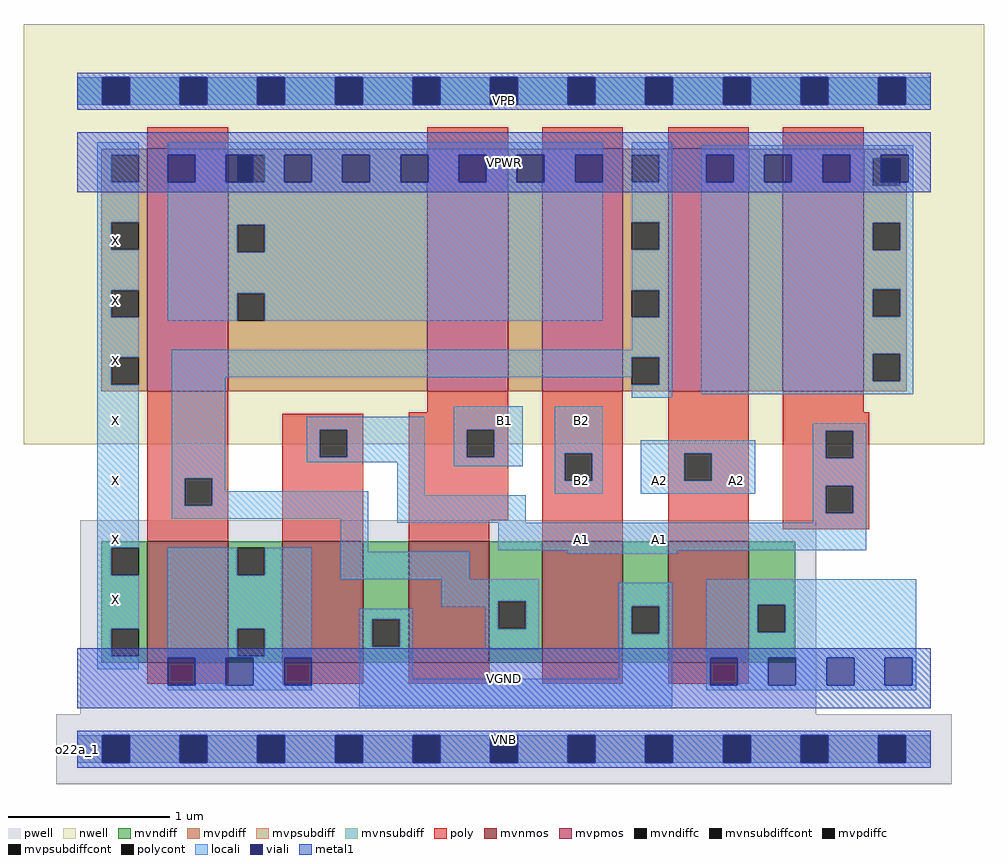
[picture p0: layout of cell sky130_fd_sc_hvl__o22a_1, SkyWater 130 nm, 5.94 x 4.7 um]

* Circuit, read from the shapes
.subckt sky130_fd_sc_hvl__o22a_1 A1 A2 B1 B2 VGND VNB VPB VPWR X
XM1 VGND n1 X VNB sky130_fd_pr__nfet_g5v0d10v5 w=0.75 l=0.5
XM2 n2 A1 VGND VNB sky130_fd_pr__nfet_g5v0d10v5 w=0.75 l=0.5
XM3 n1 B1 n2 VNB sky130_fd_pr__nfet_g5v0d10v5 w=0.75 l=0.5
XM4 n2 B2 n1 VNB sky130_fd_pr__nfet_g5v0d10v5 w=0.75 l=0.5
XM5 VGND A2 n2 VNB sky130_fd_pr__nfet_g5v0d10v5 w=0.75 l=0.5
XM6 VPWR n1 X VPB sky130_fd_pr__pfet_g5v0d10v5 w=1.5 l=0.5
XM7 n3 B1 VPWR VPB sky130_fd_pr__pfet_g5v0d10v5 w=1.5 l=0.5
XM8 n1 B2 n3 VPB sky130_fd_pr__pfet_g5v0d10v5 w=1.5 l=0.5
XM9 n4 A2 n1 VPB sky130_fd_pr__pfet_g5v0d10v5 w=1.5 l=0.5
XM10 VPWR A1 n4 VPB sky130_fd_pr__pfet_g5v0d10v5 w=1.5 l=0.5
.ends

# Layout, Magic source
magic
tech sky130A
magscale 1 2
<< nwell >>
rect -66 377 1122 897
<< pwell >>
rect 4 43 914 283
rect -26 -43 1082 43
<< mvnmos >>
rect 87 107 187 257
rect 254 107 354 257
rect 410 107 510 257
rect 575 107 675 257
rect 731 107 831 257
<< mvpmos >>
rect 87 443 187 743
rect 433 443 533 743
rect 575 443 675 743
rect 731 443 831 743
rect 873 443 973 743
<< mvndiff >>
rect 30 249 87 257
rect 30 215 42 249
rect 76 215 87 249
rect 30 149 87 215
rect 30 115 42 149
rect 76 115 87 149
rect 30 107 87 115
rect 187 249 254 257
rect 187 215 198 249
rect 232 215 254 249
rect 187 149 254 215
rect 187 115 198 149
rect 232 115 254 149
rect 187 107 254 115
rect 354 161 410 257
rect 354 127 365 161
rect 399 127 410 161
rect 354 107 410 127
rect 510 183 575 257
rect 510 149 521 183
rect 555 149 575 183
rect 510 107 575 149
rect 675 177 731 257
rect 675 143 686 177
rect 720 143 731 177
rect 675 107 731 143
rect 831 179 888 257
rect 831 145 842 179
rect 876 145 888 179
rect 831 107 888 145
<< mvpdiff >>
rect 30 735 87 743
rect 30 701 42 735
rect 76 701 87 735
rect 30 652 87 701
rect 30 618 42 652
rect 76 618 87 652
rect 30 568 87 618
rect 30 534 42 568
rect 76 534 87 568
rect 30 485 87 534
rect 30 451 42 485
rect 76 451 87 485
rect 30 443 87 451
rect 187 735 433 743
rect 187 701 198 735
rect 232 701 433 735
rect 187 649 433 701
rect 187 615 198 649
rect 232 615 433 649
rect 187 564 433 615
rect 187 530 198 564
rect 232 530 433 564
rect 187 443 433 530
rect 533 443 575 743
rect 675 735 731 743
rect 675 701 686 735
rect 720 701 731 735
rect 675 652 731 701
rect 675 618 686 652
rect 720 618 731 652
rect 675 568 731 618
rect 675 534 686 568
rect 720 534 731 568
rect 675 485 731 534
rect 675 451 686 485
rect 720 451 731 485
rect 675 443 731 451
rect 831 443 873 743
rect 973 731 1026 743
rect 973 697 984 731
rect 1018 697 1026 731
rect 973 651 1026 697
rect 973 617 984 651
rect 1018 617 1026 651
rect 973 569 1026 617
rect 973 535 984 569
rect 1018 535 1026 569
rect 973 489 1026 535
rect 973 455 984 489
rect 1018 455 1026 489
rect 973 443 1026 455
<< mvndiffc >>
rect 42 215 76 249
rect 42 115 76 149
rect 198 215 232 249
rect 198 115 232 149
rect 365 127 399 161
rect 521 149 555 183
rect 686 143 720 177
rect 842 145 876 179
<< mvpdiffc >>
rect 42 701 76 735
rect 42 618 76 652
rect 42 534 76 568
rect 42 451 76 485
rect 198 701 232 735
rect 198 615 232 649
rect 198 530 232 564
rect 686 701 720 735
rect 686 618 720 652
rect 686 534 720 568
rect 686 451 720 485
rect 984 697 1018 731
rect 984 617 1018 651
rect 984 535 1018 569
rect 984 455 1018 489
<< mvpsubdiff >>
rect 0 -17 31 17
rect 65 -17 127 17
rect 161 -17 223 17
rect 257 -17 319 17
rect 353 -17 415 17
rect 449 -17 511 17
rect 545 -17 607 17
rect 641 -17 703 17
rect 737 -17 799 17
rect 833 -17 895 17
rect 929 -17 991 17
rect 1025 -17 1056 17
<< mvnsubdiff >>
rect 0 797 31 831
rect 65 797 127 831
rect 161 797 223 831
rect 257 797 319 831
rect 353 797 415 831
rect 449 797 511 831
rect 545 797 607 831
rect 641 797 703 831
rect 737 797 799 831
rect 833 797 895 831
rect 929 797 991 831
rect 1025 797 1056 831
<< mvpsubdiffcont >>
rect 31 -17 65 17
rect 127 -17 161 17
rect 223 -17 257 17
rect 319 -17 353 17
rect 415 -17 449 17
rect 511 -17 545 17
rect 607 -17 641 17
rect 703 -17 737 17
rect 799 -17 833 17
rect 895 -17 929 17
rect 991 -17 1025 17
<< mvnsubdiffcont >>
rect 31 797 65 831
rect 127 797 161 831
rect 223 797 257 831
rect 319 797 353 831
rect 415 797 449 831
rect 511 797 545 831
rect 607 797 641 831
rect 703 797 737 831
rect 799 797 833 831
rect 895 797 929 831
rect 991 797 1025 831
<< poly >>
rect 87 743 187 769
rect 433 743 533 769
rect 575 743 675 769
rect 731 743 831 769
rect 873 743 973 769
rect 87 335 187 443
rect 433 417 533 443
rect 87 301 133 335
rect 167 301 187 335
rect 87 257 187 301
rect 254 395 354 415
rect 254 361 300 395
rect 334 361 354 395
rect 254 257 354 361
rect 410 395 533 417
rect 410 361 482 395
rect 516 361 533 395
rect 410 283 533 361
rect 575 366 675 443
rect 575 332 603 366
rect 637 332 675 366
rect 410 257 510 283
rect 575 257 675 332
rect 731 366 831 443
rect 731 332 751 366
rect 785 332 831 366
rect 731 257 831 332
rect 873 417 973 443
rect 873 394 980 417
rect 873 360 926 394
rect 960 360 980 394
rect 873 326 980 360
rect 873 292 926 326
rect 960 292 980 326
rect 873 272 980 292
rect 87 81 187 107
rect 254 81 354 107
rect 410 81 510 107
rect 575 81 675 107
rect 731 81 831 107
<< polycont >>
rect 133 301 167 335
rect 300 361 334 395
rect 482 361 516 395
rect 603 332 637 366
rect 751 332 785 366
rect 926 360 960 394
rect 926 292 960 326
<< locali >>
rect 0 797 31 831
rect 65 797 127 831
rect 161 797 223 831
rect 257 797 319 831
rect 353 797 415 831
rect 449 797 511 831
rect 545 797 607 831
rect 641 797 703 831
rect 737 797 799 831
rect 833 797 895 831
rect 929 797 991 831
rect 1025 797 1056 831
rect 25 735 76 751
rect 25 701 42 735
rect 25 652 76 701
rect 25 618 42 652
rect 25 568 76 618
rect 25 534 42 568
rect 25 485 76 534
rect 112 735 650 751
rect 146 701 184 735
rect 232 701 256 735
rect 290 701 328 735
rect 362 701 400 735
rect 434 701 472 735
rect 506 701 544 735
rect 578 701 616 735
rect 112 649 650 701
rect 112 615 198 649
rect 232 615 650 649
rect 112 564 650 615
rect 112 530 198 564
rect 232 530 650 564
rect 686 735 736 751
rect 720 701 736 735
rect 686 652 736 701
rect 720 618 736 652
rect 686 568 736 618
rect 720 534 736 568
rect 686 494 736 534
rect 25 451 42 485
rect 25 249 76 451
rect 117 485 736 494
rect 117 460 686 485
rect 117 335 183 460
rect 720 451 736 485
rect 686 435 736 451
rect 772 735 1034 747
rect 772 701 778 735
rect 812 701 850 735
rect 884 701 922 735
rect 956 731 994 735
rect 956 701 984 731
rect 1028 701 1034 735
rect 772 697 984 701
rect 1018 697 1034 701
rect 772 651 1034 697
rect 772 617 984 651
rect 1018 617 1034 651
rect 772 569 1034 617
rect 772 535 984 569
rect 1018 535 1034 569
rect 772 489 1034 535
rect 772 455 984 489
rect 1018 455 1034 489
rect 772 439 1034 455
rect 284 395 430 411
rect 284 361 300 395
rect 334 361 430 395
rect 284 355 430 361
rect 117 301 133 335
rect 167 319 183 335
rect 167 301 360 319
rect 117 285 360 301
rect 25 215 42 249
rect 25 149 76 215
rect 25 115 42 149
rect 25 99 76 115
rect 112 215 198 249
rect 232 215 290 249
rect 112 149 290 215
rect 326 244 360 285
rect 396 314 430 355
rect 466 395 551 424
rect 466 361 482 395
rect 516 361 551 395
rect 466 350 551 361
rect 591 366 650 424
rect 910 394 976 403
rect 591 332 603 366
rect 637 332 650 366
rect 591 316 650 332
rect 697 366 839 382
rect 697 332 751 366
rect 785 332 839 366
rect 697 316 839 332
rect 910 360 926 394
rect 960 360 976 394
rect 910 326 976 360
rect 396 280 555 314
rect 910 292 926 326
rect 960 292 976 326
rect 910 280 976 292
rect 521 246 976 280
rect 326 210 485 244
rect 607 242 742 246
rect 451 183 571 210
rect 451 176 521 183
rect 112 115 198 149
rect 232 115 290 149
rect 112 113 290 115
rect 146 79 184 113
rect 218 79 256 113
rect 112 73 290 79
rect 349 161 415 174
rect 349 127 365 161
rect 399 127 415 161
rect 349 87 415 127
rect 505 149 521 176
rect 555 149 571 183
rect 505 123 571 149
rect 670 177 736 206
rect 670 143 686 177
rect 720 143 736 177
rect 670 87 736 143
rect 349 53 736 87
rect 778 179 1038 210
rect 778 145 842 179
rect 876 145 1038 179
rect 778 113 1038 145
rect 778 79 783 113
rect 817 79 855 113
rect 889 79 927 113
rect 961 79 999 113
rect 1033 79 1038 113
rect 778 73 1038 79
rect 0 -17 31 17
rect 65 -17 127 17
rect 161 -17 223 17
rect 257 -17 319 17
rect 353 -17 415 17
rect 449 -17 511 17
rect 545 -17 607 17
rect 641 -17 703 17
rect 737 -17 799 17
rect 833 -17 895 17
rect 929 -17 991 17
rect 1025 -17 1056 17
<< viali >>
rect 31 797 65 831
rect 127 797 161 831
rect 223 797 257 831
rect 319 797 353 831
rect 415 797 449 831
rect 511 797 545 831
rect 607 797 641 831
rect 703 797 737 831
rect 799 797 833 831
rect 895 797 929 831
rect 991 797 1025 831
rect 112 701 146 735
rect 184 701 198 735
rect 198 701 218 735
rect 256 701 290 735
rect 328 701 362 735
rect 400 701 434 735
rect 472 701 506 735
rect 544 701 578 735
rect 616 701 650 735
rect 778 701 812 735
rect 850 701 884 735
rect 922 701 956 735
rect 994 731 1028 735
rect 994 701 1018 731
rect 1018 701 1028 731
rect 112 79 146 113
rect 184 79 218 113
rect 256 79 290 113
rect 783 79 817 113
rect 855 79 889 113
rect 927 79 961 113
rect 999 79 1033 113
rect 31 -17 65 17
rect 127 -17 161 17
rect 223 -17 257 17
rect 319 -17 353 17
rect 415 -17 449 17
rect 511 -17 545 17
rect 607 -17 641 17
rect 703 -17 737 17
rect 799 -17 833 17
rect 895 -17 929 17
rect 991 -17 1025 17
<< metal1 >>
rect 0 831 1056 837
rect 0 797 31 831
rect 65 797 127 831
rect 161 797 223 831
rect 257 797 319 831
rect 353 797 415 831
rect 449 797 511 831
rect 545 797 607 831
rect 641 797 703 831
rect 737 797 799 831
rect 833 797 895 831
rect 929 797 991 831
rect 1025 797 1056 831
rect 0 791 1056 797
rect 0 735 1056 763
rect 0 701 112 735
rect 146 701 184 735
rect 218 701 256 735
rect 290 701 328 735
rect 362 701 400 735
rect 434 701 472 735
rect 506 701 544 735
rect 578 701 616 735
rect 650 701 778 735
rect 812 701 850 735
rect 884 701 922 735
rect 956 701 994 735
rect 1028 701 1056 735
rect 0 689 1056 701
rect 0 113 1056 125
rect 0 79 112 113
rect 146 79 184 113
rect 218 79 256 113
rect 290 79 783 113
rect 817 79 855 113
rect 889 79 927 113
rect 961 79 999 113
rect 1033 79 1056 113
rect 0 51 1056 79
rect 0 17 1056 23
rect 0 -17 31 17
rect 65 -17 127 17
rect 161 -17 223 17
rect 257 -17 319 17
rect 353 -17 415 17
rect 449 -17 511 17
rect 545 -17 607 17
rect 641 -17 703 17
rect 737 -17 799 17
rect 833 -17 895 17
rect 929 -17 991 17
rect 1025 -17 1056 17
rect 0 -23 1056 -17
<< labels >>
rlabel comment s 0 0 0 0 4 o22a_1
flabel metal1 s 0 51 1056 125 0 FreeSans 340 0 0 0 VGND
port 5 nsew ground bidirectional
flabel metal1 s 0 0 1056 23 0 FreeSans 340 0 0 0 VNB
port 6 nsew ground bidirectional
flabel metal1 s 0 689 1056 763 0 FreeSans 340 0 0 0 VPWR
port 8 nsew power bidirectional
flabel metal1 s 0 791 1056 814 0 FreeSans 340 0 0 0 VPB
port 7 nsew power bidirectional
flabel locali s 607 242 641 276 0 FreeSans 340 0 0 0 A1
port 1 nsew signal input
flabel locali s 703 242 737 276 0 FreeSans 340 0 0 0 A1
port 1 nsew signal input
flabel locali s 703 316 737 350 0 FreeSans 340 0 0 0 A2
port 2 nsew signal input
flabel locali s 799 316 833 350 0 FreeSans 340 0 0 0 A2
port 2 nsew signal input
flabel locali s 511 390 545 424 0 FreeSans 340 0 0 0 B1
port 3 nsew signal input
flabel locali s 607 316 641 350 0 FreeSans 340 0 0 0 B2
port 4 nsew signal input
flabel locali s 607 390 641 424 0 FreeSans 340 0 0 0 B2
port 4 nsew signal input
flabel locali s 31 168 65 202 0 FreeSans 340 0 0 0 X
port 9 nsew signal output
flabel locali s 31 242 65 276 0 FreeSans 340 0 0 0 X
port 9 nsew signal output
flabel locali s 31 316 65 350 0 FreeSans 340 0 0 0 X
port 9 nsew signal output
flabel locali s 31 390 65 424 0 FreeSans 340 0 0 0 X
port 9 nsew signal output
flabel locali s 31 464 65 498 0 FreeSans 340 0 0 0 X
port 9 nsew signal output
flabel locali s 31 538 65 572 0 FreeSans 340 0 0 0 X
port 9 nsew signal output
flabel locali s 31 612 65 646 0 FreeSans 340 0 0 0 X
port 9 nsew signal output
<< properties >>
string FIXED_BBOX 0 0 1056 814
string GDS_END 398928
string GDS_FILE $PDKPATH/libs.ref/sky130_fd_sc_hvl/gds/sky130_fd_sc_hvl.gds
string GDS_START 386192
string LEFclass CORE
string LEFsite unithv
string LEFsymmetry X Y
<< end >>
